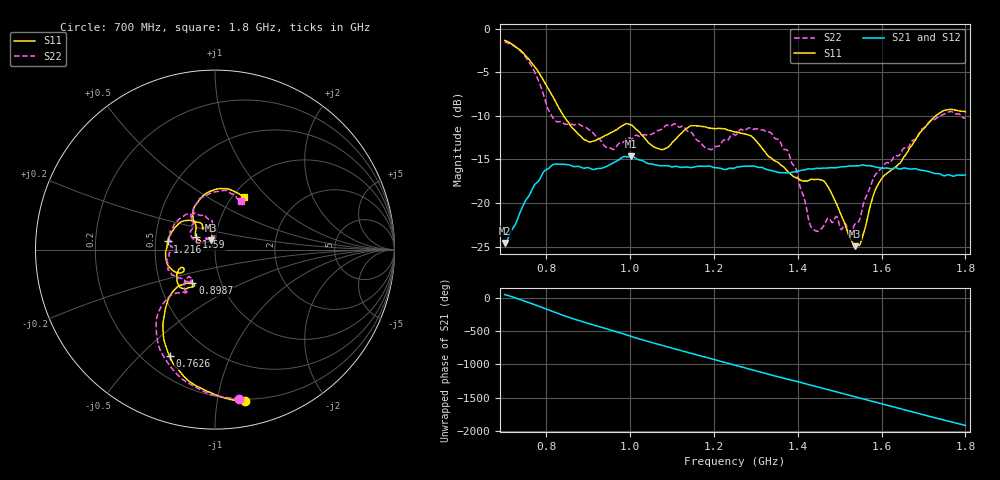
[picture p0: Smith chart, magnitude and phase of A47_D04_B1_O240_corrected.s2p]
! Created with skrf 1.9.0 (http://scikit-rf.org).
# Hz S RI R 50.0
!freq ReS11 ImS11 ReS21 ImS21 ReS12 ImS12 ReS22 ImS22
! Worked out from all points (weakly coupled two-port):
!   1601 points, 700 MHz to 1.8 GHz, reference 50 ohm
!   highest |S21| = -14.62 dB at 1.002 GHz (marker M1); lowest = -24.6 dB at 700 MHz (marker M2)
!   lowest |S11| = -25.0 dB at 1.537 GHz (marker M3), VSWR 1.12, Z = 47.4 + j4.85 ohm
!   |S11| at or under -10 dB: 840.8 MHz to 1.729 GHz (888.1 MHz wide, 69.1 % of centre)
!   |S22| runs from -23.9 to -1.5 dB; largest |S21 - S12| = 0.0034
!   S11 on the Smith chart (normalised r, x): 700 MHz: 0.19, -1.20; 762.6 MHz: 0.30, -0.62; 898.7 MHz: 0.73, -0.29; 1.216 GHz: 0.58, +0.06; 1.59 GHz: 0.80, +0.11; 1.8 GHz: 1.13, +0.74
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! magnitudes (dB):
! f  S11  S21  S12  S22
! 700 MHz  -1.3  -24.6  -24.4  -1.5
! 762.6 MHz  -3.8  -18.8  -18.7  -4.1
! 818.2 MHz  -8.0  -15.5  -15.7  -10.4
! 883.6 MHz  -12.4  -15.9  -15.8  -11.1
! 898.7 MHz  -12.9  -15.9  -16.0  -11.5
! 957.1 MHz  -11.8  -15.4  -15.4  -13.8
! 1.002 GHz  -11.0  -14.6  -14.7  -12.6
! 1.067 GHz  -13.8  -15.7  -15.6  -11.7
! 1.144 GHz  -11.1  -15.9  -15.9  -11.8
! 1.216 GHz  -11.5  -16.0  -16.0  -13.2
! 1.25 GHz  -11.8  -16.0  -15.9  -12.2
! 1.355 GHz  -15.5  -16.5  -16.4  -12.8
! 1.395 GHz  -17.1  -16.4  -16.4  -16.0
! 1.434 GHz  -17.3  -16.1  -16.1  -22.9
! 1.469 GHz  -18.0  -16.0  -16.0  -21.9
! 1.525 GHz  -24.0  -15.7  -15.7  -23.9
! 1.537 GHz  -25.0  -15.7  -15.7  -22.4
! 1.551 GHz  -24.4  -15.6  -15.7  -21.3
! 1.59 GHz  -18.0  -15.9  -15.9  -16.5
! 1.617 GHz  -16.4  -16.0  -16.0  -15.4
! 1.732 GHz  -9.9  -16.6  -16.6  -10.2
! 1.8 GHz  -9.5  -16.8  -16.8  -10.2
